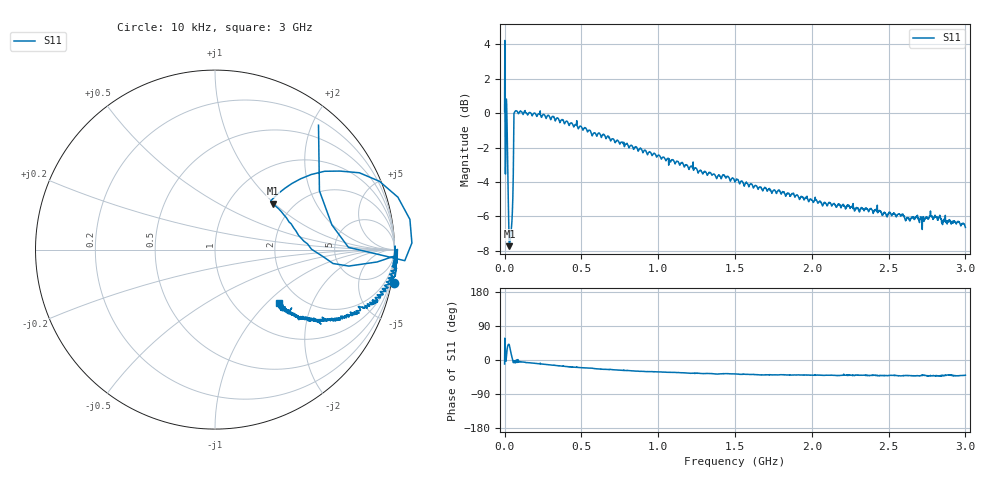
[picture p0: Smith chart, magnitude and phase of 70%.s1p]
# HZ S RI R 50
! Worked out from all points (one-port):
!   2020 points, 10 kHz to 3 GHz, reference 50 ohm
!   lowest |S11| = -7.7 dB at 31.21 MHz (marker M1), VSWR 2.39, Z = 78.9 + j48.7 ohm
!   |S11| at or under -10 dB: nowhere
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10000  0.9951 -0.1835
5953516  0.6512 0.1377
1.635467e7  0.8044 0.428
1.784055e7  0.6964 0.4375
1.932643e7  0.61 0.4364
2.378406e7  0.4292 0.3687
2.675582e7  0.3584 0.3173
3.121346e7  0.3209 0.2566
3.715698e7  0.3835 0.194
4.310049e7  0.4382 0.1213
5.350164e7  0.5661 -0.0158
6.39028e7  1.004 -0.0552
7.133219e7  1.014 -0.0314
7.578983e7  1.016 0.00121
2.407224e8  0.9556 -0.1814
3.759374e8  0.919 -0.268
6.121921e8  0.8015 -0.3533
7.503789e8  0.7247 -0.3684
1.126306e9  0.6072 -0.394
1.37742e9  0.519 -0.3933
1.433883e9  0.5322 -0.3837
1.500748e9  0.5063 -0.3775
1.670138e9  0.4674 -0.3905
1.875189e9  0.4506 -0.372
2.251117e9  0.4087 -0.3422
2.625558e9  0.3727 -0.3247
2.820208e9  0.366 -0.3259
3e9  0.3564 -0.2997
